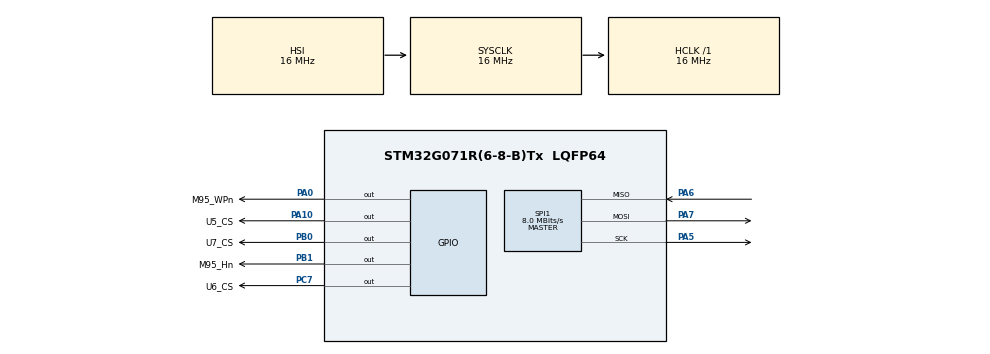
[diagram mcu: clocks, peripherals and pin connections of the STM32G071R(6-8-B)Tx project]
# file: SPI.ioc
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Mcu.Family=STM32G0
Mcu.Name=STM32G071R(6-8-B)Tx
Mcu.Package=LQFP64
PA0.GPIO_Label=M95_WPn
PA0.PinState=GPIO_PIN_RESET
PA0.Signal=GPIO_Output
PA10.GPIO_Label=U5_CS
PA10.PinState=GPIO_PIN_RESET
PA10.Signal=GPIO_Output
PA13.Mode=Serial_Wire
PA13.Signal=SYS_SWDIO
PA14-BOOT0.Mode=Serial_Wire
PA14-BOOT0.Signal=SYS_SWCLK
PA5.Mode=Full_Duplex_Master
PA5.Signal=SPI1_SCK
PA6.Mode=Full_Duplex_Master
PA6.Signal=SPI1_MISO
PA7.Mode=Full_Duplex_Master
PA7.Signal=SPI1_MOSI
PB0.GPIO_Label=U7_CS
PB0.PinState=GPIO_PIN_RESET
PB0.Signal=GPIO_Output
PB1.GPIO_Label=M95_Hn
PB1.PinState=GPIO_PIN_RESET
PB1.Signal=GPIO_Output
PC7.GPIO_Label=U6_CS
PC7.PinState=GPIO_PIN_RESET
PC7.Signal=GPIO_Output
ProjectManager.HeapSize=0x200
ProjectManager.StackSize=0x400
ProjectManager.TargetToolchain=STM32CubeIDE
RCC.AHBFreq_Value=16000000
RCC.CortexFreq_Value=16000000
RCC.EXTERNAL_CLOCK_VALUE=48000
RCC.HCLKFreq_Value=16000000
RCC.HSE_VALUE=8000000
RCC.HSI_VALUE=16000000
RCC.LSE_VALUE=32768
RCC.SYSCLKFreq_VALUE=16000000
RCC.VCOOutputFreq_Value=128000000
SPI1.CalculateBaudRate=8.0 MBits/s
SPI1.DataSize=SPI_DATASIZE_8BIT
SPI1.Direction=SPI_DIRECTION_2LINES
SPI1.Mode=SPI_MODE_MASTER
SPI1.VirtualType=VM_MASTER
board=custom

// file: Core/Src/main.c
/* USER CODE BEGIN Header */
/**
  ******************************************************************************
  * @file           : main.c
  * @brief          : Main program body
  ******************************************************************************
  * @attention
  *
  * Copyright (c) 2024 STMicroelectronics.
  * All rights reserved.
  *
  * This software is licensed under terms that can be found in the LICENSE file
  * in the root directory of this software component.
  * If no LICENSE file comes with this software, it is provided AS-IS.
  *
  ******************************************************************************
  */
/* USER CODE END Header */
#include "main.h"
#include "spi.h"
#include "gpio.h"

#include "M95.h"

void SystemClock_Config(void);

int main(void)
{

  /* USER CODE BEGIN 1 */

	uint8_t StatusRegisterValue =0;
	uint8_t ReadValue =0;
	uint8_t M95Type;
	uint8_t TxData1 ='A';
	uint8_t TxData2 ='B';
	uint8_t TxData3 ='C';

  /* USER CODE END 1 */

  /* MCU Configuration--------------------------------------------------------*/

  /* Reset of all peripherals, Initializes the Flash interface and the Systick. */
  HAL_Init();

  /* Configure the system clock */
  SystemClock_Config();

  /* Initialize all configured peripherals */
  MX_GPIO_Init();
  MX_SPI1_Init();
  /* USER CODE BEGIN 2 */
  //Disable chip selects.
  M95Type = M95040; DisableChipSelectM95(M95Type);
  M95Type = M95256; DisableChipSelectM95(M95Type);
  M95Type = M95M04; DisableChipSelectM95(M95Type);
   //those are distinct SPI memory device

  //Disable write-protect and hold
  DisableWriteProtectM95();
  DisableHoldM95();

 //Turn off the block protection for all devices
  M95Type = M95040;
  StatusRegisterValue = ReadStatusRegisterM95(M95Type);
  StatusRegisterValue = StatusRegisterValue & ~(0x0C);
  //Make BP1, BP2 as 0 - disable block protection
  WriteStatusRegisterM95(M95Type, StatusRegisterValue);
  //rewrite this value to EEPROM

  M95Type = M95256;
  StatusRegisterValue = ReadStatusRegisterM95(M95Type);
  StatusRegisterValue = StatusRegisterValue & ~(0x0C);
  WriteStatusRegisterM95(M95Type, StatusRegisterValue);

  M95Type = M95M04;
    StatusRegisterValue = ReadStatusRegisterM95(M95Type);
    StatusRegisterValue = StatusRegisterValue & ~(0x0C);
    WriteStatusRegisterM95(M95Type, StatusRegisterValue);

  /* USER CODE END 2 */

  /* Infinite loop */
  while (1)
  {

    /* USER CODE BEGIN 3 */
	  M95Type = M95040;
	  WriteByteM95(M95Type, 0x00000001, TxData1);
	  StatusRegisterValue =0;
	  StatusRegisterValue = ReadStatusRegisterM95(M95Type);
	  while (StatusRegisterValue & 0x01) {
		  StatusRegisterValue =ReadStatusRegisterM95(M95Type);
	  }
	  //when wip bit is 1 which means it is being written, so in this case use "while" to read updated data
	  ReadValue=0;

	 ReadValue =ReadByteM95(M95Type, 0x00000001);
	 if(TxData1 == ReadValue){
		 HAL_Delay(1);
	 }

	  M95Type = M95256;
	  WriteByteM95(M95Type, 0x00000001, TxData2);
	  StatusRegisterValue =0;
	  StatusRegisterValue = ReadStatusRegisterM95(M95Type);
	  while (StatusRegisterValue & 0x01) {
		  StatusRegisterValue =ReadStatusRegisterM95(M95Type);

	  }
	  ReadValue=0;

	 ReadValue =ReadByteM95(M95Type, 0x00000001);
	 if(TxData2 == ReadValue){
		 HAL_Delay(1);
	 }

	  M95Type = M95M04;
	  WriteByteM95(M95Type, 0x00000001, TxData3);
	  StatusRegisterValue =0;
	  StatusRegisterValue = ReadStatusRegisterM95(M95Type);
	  while (StatusRegisterValue & 0x01) {
		  StatusRegisterValue =ReadStatusRegisterM95(M95Type);

	  }
	  ReadValue=0;

	 ReadValue =ReadByteM95(M95Type, 0x00000001);
	 if(TxData3 == ReadValue){
		 HAL_Delay(1);
	 }

  }
  /* USER CODE END 3 */
}

void SystemClock_Config(void)
{
  RCC_OscInitTypeDef RCC_OscInitStruct = {0};
  RCC_ClkInitTypeDef RCC_ClkInitStruct = {0};

  /** Configure the main internal regulator output voltage
  */
  HAL_PWREx_ControlVoltageScaling(PWR_REGULATOR_VOLTAGE_SCALE1);

  /** Initializes the RCC Oscillators according to the specified parameters
  * in the RCC_OscInitTypeDef structure.
  */
  RCC_OscInitStruct.OscillatorType = RCC_OSCILLATORTYPE_HSI;
  RCC_OscInitStruct.HSIState = RCC_HSI_ON;
  RCC_OscInitStruct.HSIDiv = RCC_HSI_DIV1;
  RCC_OscInitStruct.HSICalibrationValue = RCC_HSICALIBRATION_DEFAULT;
  RCC_OscInitStruct.PLL.PLLState = RCC_PLL_NONE;
  if (HAL_RCC_OscConfig(&RCC_OscInitStruct) != HAL_OK)
  {
    Error_Handler();
  }

  /** Initializes the CPU, AHB and APB buses clocks
  */
  RCC_ClkInitStruct.ClockType = RCC_CLOCKTYPE_HCLK|RCC_CLOCKTYPE_SYSCLK
                              |RCC_CLOCKTYPE_PCLK1;
  RCC_ClkInitStruct.SYSCLKSource = RCC_SYSCLKSOURCE_HSI;
  RCC_ClkInitStruct.AHBCLKDivider = RCC_SYSCLK_DIV1;
  RCC_ClkInitStruct.APB1CLKDivider = RCC_HCLK_DIV1;

  if (HAL_RCC_ClockConfig(&RCC_ClkInitStruct, FLASH_LATENCY_0) != HAL_OK)
  {
    Error_Handler();
  }
}

void Error_Handler(void)
{
  __disable_irq();
  while (1)
  {
  }
}
